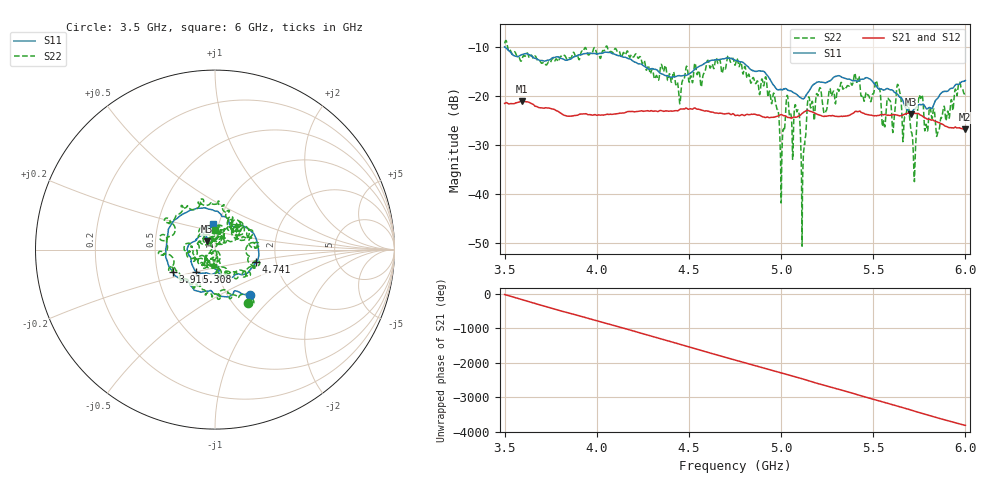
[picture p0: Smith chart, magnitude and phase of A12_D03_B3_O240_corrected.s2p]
! Created with skrf 1.9.0 (http://scikit-rf.org).
# Hz S RI R 50.0
!freq ReS11 ImS11 ReS21 ImS21 ReS12 ImS12 ReS22 ImS22
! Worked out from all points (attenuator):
!   1601 points, 3.5 GHz to 6 GHz, reference 50 ohm
!   highest |S21| = -21.06 dB at 3.592 GHz (marker M1); lowest = -26.8 dB at 5.998 GHz (marker M2)
!   lowest |S11| = -23.7 dB at 5.703 GHz (marker M3), VSWR 1.14, Z = 45.4 + j4.28 ohm
!   |S11| at or under -10 dB: 3.505 GHz to end of sweep
!   |S22| runs from -50.7 to -8.6 dB; largest |S21 - S12| = 0.0011
!   S11 on the Smith chart (normalised r, x): 3.5 GHz: 1.26, -0.71; 3.916 GHz: 0.60, -0.16; 4.741 GHz: 1.57, -0.24; 5.308 GHz: 0.79, -0.20; 6 GHz: 0.94, +0.28
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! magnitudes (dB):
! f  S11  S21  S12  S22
! 3.5 GHz  -9.9  -21.5  -21.5  -9.2
! 3.592 GHz  -11.5  -21.1  -21.1  -12.7
! 3.916 GHz  -11.5  -23.6  -23.6  -11.0
! 3.917 GHz  -11.5  -23.6  -23.6  -10.8
! 4.334 GHz  -14.9  -23.1  -23.0  -16.7
! 4.741 GHz  -12.4  -23.6  -23.6  -12.3
! 4.75 GHz  -12.6  -23.9  -23.9  -13.6
! 4.966 GHz  -18.0  -24.2  -24.2  -20.2
! 5.005 GHz  -18.6  -23.8  -23.8  -31.4
! 5.033 GHz  -18.6  -24.3  -24.2  -19.8
! 5.086 GHz  -19.6  -24.2  -24.2  -23.2
! 5.119 GHz  -20.5  -23.4  -23.3  -34.1
! 5.145 GHz  -19.3  -22.9  -22.9  -20.7
! 5.167 GHz  -17.9  -23.2  -23.1  -21.2
! 5.308 GHz  -15.8  -24.1  -24.1  -18.5
! 5.584 GHz  -18.6  -23.9  -23.9  -20.6
! 5.703 GHz  -23.7  -23.5  -23.5  -26.6
! 5.722 GHz  -22.6  -23.5  -23.5  -36.8
! 5.756 GHz  -21.7  -23.8  -23.8  -20.4
! 5.85 GHz  -20.4  -25.3  -25.2  -27.4
! 5.998 GHz  -16.8  -26.8  -26.7  -19.4
! 6 GHz  -16.8  -26.8  -26.7  -19.3
